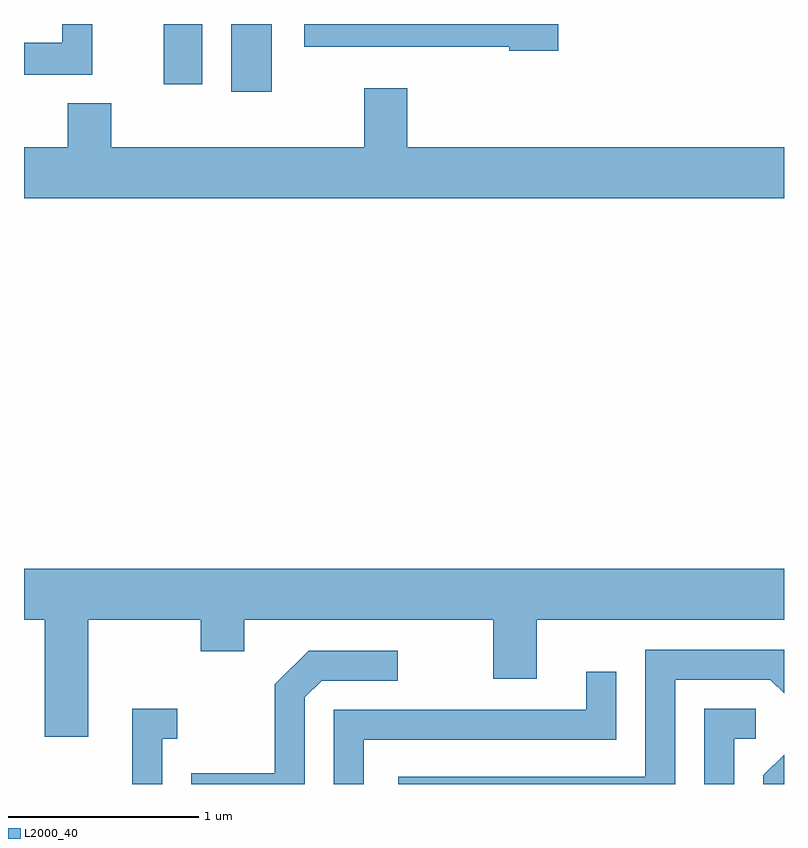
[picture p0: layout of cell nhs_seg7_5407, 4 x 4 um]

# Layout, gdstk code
import gdstk
lib = gdstk.Library(unit=1e-6, precision=1e-09)
def R(c, l, rs):  # rectangles x0, y0, x1, y1
    for r in rs: c.add(gdstk.rectangle(r[:2], r[2:], *l))
def P(c, l, *ps):  # polygons
    for p in ps: c.add(gdstk.Polygon(p, *l))
L2000_40 = (2000, 40)

nhs_seg7_5407 = lib.new_cell('nhs_seg7_5407')
R(nhs_seg7_5407, L2000_40, [(350.701,1805.896,350.914,1806.252), (350.346,1805.936,350.549,1806.252)])
P(nhs_seg7_5407, L2000_40, [(349.969,1806.252),(349.811,1806.252),(349.811,1806.154),(349.611,1806.154),(349.611,1805.986),(349.969,1805.986)],
  [(352.424,1806.252),(351.086,1806.252),(351.086,1806.131),(352.166,1806.131),(352.166,1806.111),(352.424,1806.111)],
  [(353.611,1805.604),(351.629,1805.604),(351.629,1805.914),(351.401,1805.914),(351.401,1805.604),(350.069,1805.604),(350.069,1805.834),(349.841,1805.834),(349.841,1805.604),(349.611,1805.604),(349.611,1805.336),(353.611,1805.336)],
  [(349.949,1803.116),(350.541,1803.116),(350.541,1802.951),(350.769,1802.951),(350.769,1803.116),(352.081,1803.116),(352.081,1802.806),(352.309,1802.806),(352.309,1803.116),(353.611,1803.116),(353.611,1803.384),(349.611,1803.384),(349.611,1803.116),(349.721,1803.116),(349.721,1802.501),(349.949,1802.501)],
  [(353.039,1802.801),(353.539,1802.801),(353.611,1802.729),(353.611,1802.959),(352.881,1802.959),(352.881,1802.289),(351.581,1802.289),(351.581,1802.252),(353.039,1802.252)],
  [(351.089,1802.709),(351.177,1802.796),(351.578,1802.796),(351.578,1802.954),(351.109,1802.954),(350.931,1802.777),(350.931,1802.309),(350.491,1802.309),(350.491,1802.252),(351.089,1802.252)],
  [(351.399,1802.486),(352.729,1802.486),(352.729,1802.843),(352.571,1802.843),(352.571,1802.644),(351.241,1802.644),(351.241,1802.252),(351.399,1802.252)],
  [(353.349,1802.491),(353.463,1802.491),(353.463,1802.649),(353.191,1802.649),(353.191,1802.252),(353.349,1802.252)],
  [(350.339,1802.491),(350.418,1802.491),(350.418,1802.649),(350.181,1802.649),(350.181,1802.252),(350.339,1802.252)],
  [(353.611,1802.406),(353.501,1802.297),(353.501,1802.252),(353.611,1802.252)])

lib.write_gds('nhs_seg7_5407.gds')
